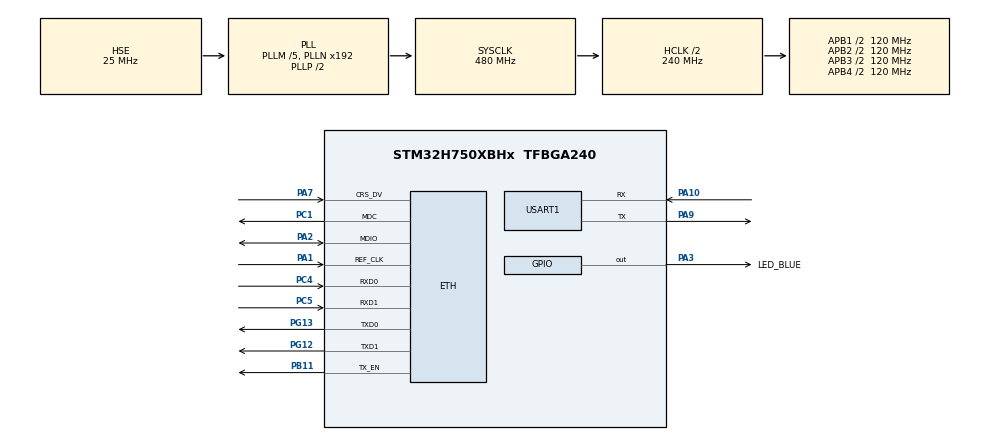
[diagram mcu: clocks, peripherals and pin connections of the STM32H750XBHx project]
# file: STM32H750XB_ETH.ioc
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CORTEX_M7.AccessPermission-Cortex_Memory_Protection_Unit_Region0_Settings=MPU_REGION_FULL_ACCESS
CORTEX_M7.AccessPermission-Cortex_Memory_Protection_Unit_Region1_Settings=MPU_REGION_FULL_ACCESS
CORTEX_M7.AccessPermission_S-Cortex_Memory_Protection_Unit_Region1_Settings_S=MPU_REGION_FULL_ACCESS
CORTEX_M7.AccessPermission_Spec=MPU_REGION_FULL_ACCESS
CORTEX_M7.BaseAddress-Cortex_Memory_Protection_Unit_Region0_Settings=0x30040000
CORTEX_M7.BaseAddress-Cortex_Memory_Protection_Unit_Region1_Settings=0x30044000
CORTEX_M7.BaseAddress_S-Cortex_Memory_Protection_Unit_Region1_Settings_S=0x30044000
CORTEX_M7.BaseAddress_Spec=0x30040000
CORTEX_M7.CPU_DCache=Enabled
CORTEX_M7.CPU_ICache=Enabled
CORTEX_M7.DisableExec_Spec=MPU_INSTRUCTION_ACCESS_ENABLE
CORTEX_M7.Enable-Cortex_Memory_Protection_Unit_Region0_Settings=MPU_REGION_ENABLE
CORTEX_M7.Enable-Cortex_Memory_Protection_Unit_Region1_Settings=MPU_REGION_ENABLE
CORTEX_M7.Enable_S-Cortex_Memory_Protection_Unit_Region1_Settings_S=MPU_REGION_ENABLE
CORTEX_M7.IsBufferable-Cortex_Memory_Protection_Unit_Region0_Settings=MPU_ACCESS_BUFFERABLE
CORTEX_M7.IsBufferable_Spec=MPU_ACCESS_BUFFERABLE
CORTEX_M7.IsCacheable-Cortex_Memory_Protection_Unit_Region0_Settings=MPU_ACCESS_NOT_CACHEABLE
CORTEX_M7.IsCacheable-Cortex_Memory_Protection_Unit_Region1_Settings=MPU_ACCESS_CACHEABLE
CORTEX_M7.IsCacheable_S-Cortex_Memory_Protection_Unit_Region1_Settings_S=MPU_ACCESS_CACHEABLE
CORTEX_M7.IsShareable-Cortex_Memory_Protection_Unit_Region0_Settings=MPU_ACCESS_NOT_SHAREABLE
CORTEX_M7.IsShareable_Spec=MPU_ACCESS_NOT_SHAREABLE
CORTEX_M7.MPU_Control=MPU_PRIVILEGED_DEFAULT
CORTEX_M7.Size-Cortex_Memory_Protection_Unit_Region0_Settings=MPU_REGION_SIZE_256B
CORTEX_M7.Size-Cortex_Memory_Protection_Unit_Region1_Settings=MPU_REGION_SIZE_16KB
CORTEX_M7.Size_S-Cortex_Memory_Protection_Unit_Region1_Settings_S=MPU_REGION_SIZE_16KB
CORTEX_M7.Size_Spec=MPU_REGION_SIZE_256B
CORTEX_M7.SubRegionDisable_Spec=0x0
CORTEX_M7.TypeExtField-Cortex_Memory_Protection_Unit_Region0_Settings=MPU_TEX_LEVEL0
CORTEX_M7.default_mode_Activation=1
ETH.MediaInterface=HAL_ETH_RMII_MODE
ETH.RxBuffAddress=0x30040200
ETH.RxBuffLen=1528
ETH.RxDescAddress=0x30040000
ETH.TxDescAddress=0x30040060
FREERTOS.Tasks01=defaultTask,0,512,StartDefaultTask,Default,NULL,Dynamic,NULL,NULL;task_LED,-3,128,Task_LED,Default,NULL,Dynamic,NULL,NULL
FREERTOS.configENABLE_FPU=1
LWIP.BSP.number=1
LWIP.ETHARP_SUPPORT_STATIC_ENTRIES=1
LWIP.GATEWAY_ADDRESS=192.168.068.001
LWIP.IP_ADDRESS=192.168.068.145
LWIP.IP_FORWARD=1
LWIP.LWIP_DHCP=0
LWIP.LWIP_NETIF_STATUS_CALLBACK=1
LWIP.LWIP_RAM_HEAP_POINTER=0x30044000
LWIP.MEMP_MEM_MALLOC=1
LWIP.MEMP_USE_CUSTOM_POOLS=0
LWIP.MEM_SIZE=14336
LWIP.NETMASK_ADDRESS=255.255.255.000
LWIP.Version=v2.1.2_Cube
LWIP0.BSP.STBoard=false
LWIP0.BSP.api=BSP_COMPONENT_DRIVER
LWIP0.BSP.component=LAN8742
LWIP0.BSP.instance=LAN8742
LWIP0.BSP.name=Driver_PHY
LWIP0.BSP.solution=LAN8742
Mcu.Family=STM32H7
Mcu.Name=STM32H750XBHx
Mcu.Package=TFBGA240
NVIC.ETH_IRQn=true\:5\:0\:false\:false\:true\:true\:true\:true\:true
NVIC.PriorityGroup=NVIC_PRIORITYGROUP_4
NVIC.TIM6_DAC_IRQn=true\:15\:0\:false\:false\:true\:false\:false\:true\:true
NVIC.TimeBase=TIM6_DAC_IRQn
NVIC.TimeBaseIP=TIM6
PA1.GPIO_Speed=GPIO_SPEED_FREQ_VERY_HIGH
PA1.Mode=RMII
PA1.Signal=ETH_REF_CLK
PA10.Mode=Asynchronous
PA10.Signal=USART1_RX
PA13\ (JTMS/SWDIO).Mode=Serial_Wire
PA13\ (JTMS/SWDIO).Signal=DEBUG_JTMS-SWDIO
PA14\ (JTCK/SWCLK).Mode=Serial_Wire
PA14\ (JTCK/SWCLK).Signal=DEBUG_JTCK-SWCLK
PA2.GPIO_Speed=GPIO_SPEED_FREQ_VERY_HIGH
PA2.Mode=RMII
PA2.Signal=ETH_MDIO
PA3.GPIO_Label=LED_BLUE
PA3.GPIO_PuPd=GPIO_PULLUP
PA3.PinState=GPIO_PIN_SET
PA3.Signal=GPIO_Output
PA7.GPIO_Speed=GPIO_SPEED_FREQ_VERY_HIGH
PA7.Mode=RMII
PA7.Signal=ETH_CRS_DV
PA9.Mode=Asynchronous
PA9.Signal=USART1_TX
PB11.GPIO_Speed=GPIO_SPEED_FREQ_VERY_HIGH
PB11.Mode=RMII
PB11.Signal=ETH_TX_EN
PC1.GPIO_Speed=GPIO_SPEED_FREQ_VERY_HIGH
PC1.Mode=RMII
PC1.Signal=ETH_MDC
PC14-OSC32_IN\ (OSC32_IN).Mode=LSE-External-Oscillator
PC14-OSC32_IN\ (OSC32_IN).Signal=RCC_OSC32_IN
PC15-OSC32_OUT\ (OSC32_OUT).Mode=LSE-External-Oscillator
PC15-OSC32_OUT\ (OSC32_OUT).Signal=RCC_OSC32_OUT
PC4.GPIO_Speed=GPIO_SPEED_FREQ_VERY_HIGH
PC4.Mode=RMII
PC4.Signal=ETH_RXD0
PC5.GPIO_Speed=GPIO_SPEED_FREQ_VERY_HIGH
PC5.Mode=RMII
PC5.Signal=ETH_RXD1
PG12.GPIO_Speed=GPIO_SPEED_FREQ_VERY_HIGH
PG12.Mode=RMII
PG12.Signal=ETH_TXD1
PG13.GPIO_Speed=GPIO_SPEED_FREQ_VERY_HIGH
PG13.Mode=RMII
PG13.Signal=ETH_TXD0
PH0-OSC_IN\ (PH0).Mode=HSE-External-Oscillator
PH0-OSC_IN\ (PH0).Signal=RCC_OSC_IN
PH1-OSC_OUT\ (PH1).Mode=HSE-External-Oscillator
PH1-OSC_OUT\ (PH1).Signal=RCC_OSC_OUT
ProjectManager.HeapSize=0x1000
ProjectManager.StackSize=0x1000
ProjectManager.TargetToolchain=EWARM V8.32
RCC.ADCFreq_Value=50390625
RCC.APB1Freq_Value=120000000
RCC.APB2Freq_Value=120000000
RCC.APB3Freq_Value=120000000
RCC.APB4Freq_Value=120000000
RCC.CortexFreq_Value=480000000
RCC.D1PPRE=RCC_APB3_DIV2
RCC.D2PPRE1=RCC_APB1_DIV2
RCC.D2PPRE2=RCC_APB2_DIV2
RCC.D3PPRE=RCC_APB4_DIV2
RCC.DIVM1=5
RCC.DIVN1=192
RCC.HCLKFreq_Value=240000000
RCC.HPRE=RCC_HCLK_DIV2
RCC.PLLFRACN=0
RCC.PLLSourceVirtual=RCC_PLLSOURCE_HSE
RCC.PWR_Regulator_Voltage_Scale=PWR_REGULATOR_VOLTAGE_SCALE0
RCC.ProductRev=revV
RCC.SYSCLKFreq_VALUE=480000000
RCC.SYSCLKSource=RCC_SYSCLKSOURCE_PLLCLK
RCC.USBFreq_Value=480000000
USART1.VirtualMode-Asynchronous=VM_ASYNC
VP_FREERTOS_VS_CMSIS_V1.Mode=CMSIS_V1
VP_LWIP_VS_Enabled.Mode=Enabled
VP_SYS_VS_tim6.Mode=TIM6
board=custom

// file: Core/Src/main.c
/* USER CODE BEGIN Header */
/**
 ******************************************************************************
 * @file           : main.c
 * @brief          : Main program body
 ******************************************************************************
 * @attention
 *
 * Copyright (c) 2023 STMicroelectronics.
 * All rights reserved.
 *
 * This software is licensed under terms that can be found in the LICENSE file
 * in the root directory of this software component.
 * If no LICENSE file comes with this software, it is provided AS-IS.
 *
 ******************************************************************************
 */
/* USER CODE END Header */
#include "main.h"
#include "cmsis_os.h"
#include "lwip.h"
#include "usart.h"
#include "gpio.h"

/* USER CODE BEGIN Includes */
#include "stdio.h"
#include "stdlib.h"
#include "string.h"
#include "math.h"
/* USER CODE END Includes */

void SystemClock_Config(void);
static void MPU_Initialize(void);
static void MPU_Config(void);
void MX_FREERTOS_Init(void);

int main(void)
{

  /* Enable I-Cache---------------------------------------------------------*/
  SCB_EnableICache();

  /* Enable D-Cache---------------------------------------------------------*/
  SCB_EnableDCache();

  /* MCU Configuration--------------------------------------------------------*/

  /* Reset of all peripherals, Initializes the Flash interface and the Systick. */
  HAL_Init();

  /* MPU Configuration--------------------------------------------------------*/
  MPU_Config();

  /* USER CODE BEGIN Init */
    // SCB_DisableDCache();
  /* USER CODE END Init */

  /* Configure the system clock */
  SystemClock_Config();

  /* USER CODE BEGIN SysInit */
    HAL_Delay(100);
  /* USER CODE END SysInit */

  /* Initialize all configured peripherals */
  MX_GPIO_Init();
  MX_USART1_UART_Init();
  /* USER CODE BEGIN 2 */
    printf("Init Success!\r\n");
  /* USER CODE END 2 */

  /* Call init function for freertos objects (in freertos.c) */
  MX_FREERTOS_Init();

  /* Start scheduler */
  osKernelStart();

  /* We should never get here as control is now taken by the scheduler */
  /* Infinite loop */
    while (1)
    {

    }
}

void SystemClock_Config(void)
{
  RCC_OscInitTypeDef RCC_OscInitStruct = {0};
  RCC_ClkInitTypeDef RCC_ClkInitStruct = {0};

  /** Supply configuration update enable
  */
  HAL_PWREx_ConfigSupply(PWR_LDO_SUPPLY);

  /** Configure the main internal regulator output voltage
  */
  __HAL_PWR_VOLTAGESCALING_CONFIG(PWR_REGULATOR_VOLTAGE_SCALE1);

  while(!__HAL_PWR_GET_FLAG(PWR_FLAG_VOSRDY)) {}

  __HAL_RCC_SYSCFG_CLK_ENABLE();
  __HAL_PWR_VOLTAGESCALING_CONFIG(PWR_REGULATOR_VOLTAGE_SCALE0);

  while(!__HAL_PWR_GET_FLAG(PWR_FLAG_VOSRDY)) {}

  /** Initializes the RCC Oscillators according to the specified parameters
  * in the RCC_OscInitTypeDef structure.
  */
  RCC_OscInitStruct.OscillatorType = RCC_OSCILLATORTYPE_HSE;
  RCC_OscInitStruct.HSEState = RCC_HSE_ON;
  RCC_OscInitStruct.PLL.PLLState = RCC_PLL_ON;
  RCC_OscInitStruct.PLL.PLLSource = RCC_PLLSOURCE_HSE;
  RCC_OscInitStruct.PLL.PLLM = 5;
  RCC_OscInitStruct.PLL.PLLN = 192;
  RCC_OscInitStruct.PLL.PLLP = 2;
  RCC_OscInitStruct.PLL.PLLQ = 2;
  RCC_OscInitStruct.PLL.PLLR = 2;
  RCC_OscInitStruct.PLL.PLLRGE = RCC_PLL1VCIRANGE_2;
  RCC_OscInitStruct.PLL.PLLVCOSEL = RCC_PLL1VCOWIDE;
  RCC_OscInitStruct.PLL.PLLFRACN = 0;
  if (HAL_RCC_OscConfig(&RCC_OscInitStruct) != HAL_OK)
  {
    Error_Handler();
  }

  /** Initializes the CPU, AHB and APB buses clocks
  */
  RCC_ClkInitStruct.ClockType = RCC_CLOCKTYPE_HCLK|RCC_CLOCKTYPE_SYSCLK
                              |RCC_CLOCKTYPE_PCLK1|RCC_CLOCKTYPE_PCLK2
                              |RCC_CLOCKTYPE_D3PCLK1|RCC_CLOCKTYPE_D1PCLK1;
  RCC_ClkInitStruct.SYSCLKSource = RCC_SYSCLKSOURCE_PLLCLK;
  RCC_ClkInitStruct.SYSCLKDivider = RCC_SYSCLK_DIV1;
  RCC_ClkInitStruct.AHBCLKDivider = RCC_HCLK_DIV2;
  RCC_ClkInitStruct.APB3CLKDivider = RCC_APB3_DIV2;
  RCC_ClkInitStruct.APB1CLKDivider = RCC_APB1_DIV2;
  RCC_ClkInitStruct.APB2CLKDivider = RCC_APB2_DIV2;
  RCC_ClkInitStruct.APB4CLKDivider = RCC_APB4_DIV2;

  if (HAL_RCC_ClockConfig(&RCC_ClkInitStruct, FLASH_LATENCY_4) != HAL_OK)
  {
    Error_Handler();
  }
}

/* MPU Configuration */

void MPU_Config(void)
{
  MPU_Region_InitTypeDef MPU_InitStruct = {0};

  /* Disables the MPU */
  HAL_MPU_Disable();

  /** Initializes and configures the Region and the memory to be protected
  */
  MPU_InitStruct.Enable = MPU_REGION_ENABLE;
  MPU_InitStruct.Number = MPU_REGION_NUMBER0;
  MPU_InitStruct.BaseAddress = 0x30040000;
  MPU_InitStruct.Size = MPU_REGION_SIZE_256B;
  MPU_InitStruct.SubRegionDisable = 0x0;
  MPU_InitStruct.TypeExtField = MPU_TEX_LEVEL0;
  MPU_InitStruct.AccessPermission = MPU_REGION_FULL_ACCESS;
  MPU_InitStruct.DisableExec = MPU_INSTRUCTION_ACCESS_ENABLE;
  MPU_InitStruct.IsShareable = MPU_ACCESS_NOT_SHAREABLE;
  MPU_InitStruct.IsCacheable = MPU_ACCESS_NOT_CACHEABLE;
  MPU_InitStruct.IsBufferable = MPU_ACCESS_BUFFERABLE;

  HAL_MPU_ConfigRegion(&MPU_InitStruct);

  /** Initializes and configures the Region and the memory to be protected
  */
  MPU_InitStruct.Number = MPU_REGION_NUMBER1;
  MPU_InitStruct.BaseAddress = 0x30044000;
  MPU_InitStruct.Size = MPU_REGION_SIZE_16KB;
  MPU_InitStruct.IsCacheable = MPU_ACCESS_CACHEABLE;
  MPU_InitStruct.IsBufferable = MPU_ACCESS_NOT_BUFFERABLE;

  HAL_MPU_ConfigRegion(&MPU_InitStruct);
  /* Enables the MPU */
  HAL_MPU_Enable(MPU_PRIVILEGED_DEFAULT);

}

void HAL_TIM_PeriodElapsedCallback(TIM_HandleTypeDef *htim)
{
  if (htim->Instance == TIM6) {
    HAL_IncTick();
  }
}

void Error_Handler(void)
{
    __disable_irq();
    while (1)
    {
    }
}

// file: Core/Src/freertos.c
/* USER CODE BEGIN Header */
/**
  ******************************************************************************
  * File Name          : freertos.c
  * Description        : Code for freertos applications
  ******************************************************************************
  * @attention
  *
  * Copyright (c) 2023 STMicroelectronics.
  * All rights reserved.
  *
  * This software is licensed under terms that can be found in the LICENSE file
  * in the root directory of this software component.
  * If no LICENSE file comes with this software, it is provided AS-IS.
  *
  ******************************************************************************
  */
/* USER CODE END Header */

#include "FreeRTOS.h"
#include "task.h"
#include "main.h"
#include "cmsis_os.h"

/* USER CODE BEGIN Includes */
#include "stdio.h"
#include "string.h"
#include "lwip.h"
#include "lwip/netif.h"
#include "lwip/ip.h"
#include "lwip/tcp.h"
#include "lwip/init.h"
#include "netif/etharp.h"
#include "lwip/udp.h"
#include "lwip/pbuf.h"
/* USER CODE END Includes */

/* USER CODE BEGIN PM */
#define DEST_IP_ADDR0   192
#define DEST_IP_ADDR1   168
#define DEST_IP_ADDR2   1
#define DEST_IP_ADDR3   163

#define TCP_CLIENT_PORT  5001

#define UDP_SERVER_PORT  5002
#define UDP_CLIENT_PORT  5002

#define LOCAL  5001

/* USER CODE END PM */

osThreadId defaultTaskHandle;
osThreadId task_LEDHandle;

void StartDefaultTask(void const * argument);
void Task_LED(void const * argument);

extern void MX_LWIP_Init(void);
void MX_FREERTOS_Init(void); /* (MISRA C 2004 rule 8.1) */

/* GetIdleTaskMemory prototype (linked to static allocation support) */
void vApplicationGetIdleTaskMemory( StaticTask_t **ppxIdleTaskTCBBuffer, StackType_t **ppxIdleTaskStackBuffer, uint32_t *pulIdleTaskStackSize );

/* USER CODE BEGIN GET_IDLE_TASK_MEMORY */
static StaticTask_t xIdleTaskTCBBuffer;
static StackType_t xIdleStack[configMINIMAL_STACK_SIZE];

void vApplicationGetIdleTaskMemory( StaticTask_t **ppxIdleTaskTCBBuffer, StackType_t **ppxIdleTaskStackBuffer, uint32_t *pulIdleTaskStackSize )
{
  *ppxIdleTaskTCBBuffer = &xIdleTaskTCBBuffer;
  *ppxIdleTaskStackBuffer = &xIdleStack[0];
  *pulIdleTaskStackSize = configMINIMAL_STACK_SIZE;
  /* place for user code */
}
/* USER CODE END GET_IDLE_TASK_MEMORY */

void MX_FREERTOS_Init(void) {

  /* Create the thread(s) */
  /* definition and creation of defaultTask */
  osThreadDef(defaultTask, StartDefaultTask, osPriorityNormal, 0, 512);
  defaultTaskHandle = osThreadCreate(osThread(defaultTask), NULL);

  /* definition and creation of task_LED */
  osThreadDef(task_LED, Task_LED, osPriorityIdle, 0, 128);
  task_LEDHandle = osThreadCreate(osThread(task_LED), NULL);

}

void StartDefaultTask(void const * argument)
{
  /* init code for LWIP */
  MX_LWIP_Init();
  for(;;)
  {
    osDelay(1);
  }
}

void Task_LED(void const * argument)
{
  /* USER CODE BEGIN Task_LED */
  /* Infinite loop */
  for(;;)
  {
    HAL_GPIO_TogglePin(LED_BLUE_GPIO_Port,LED_BLUE_Pin);

    osDelay(500);
  }
  /* USER CODE END Task_LED */
}
